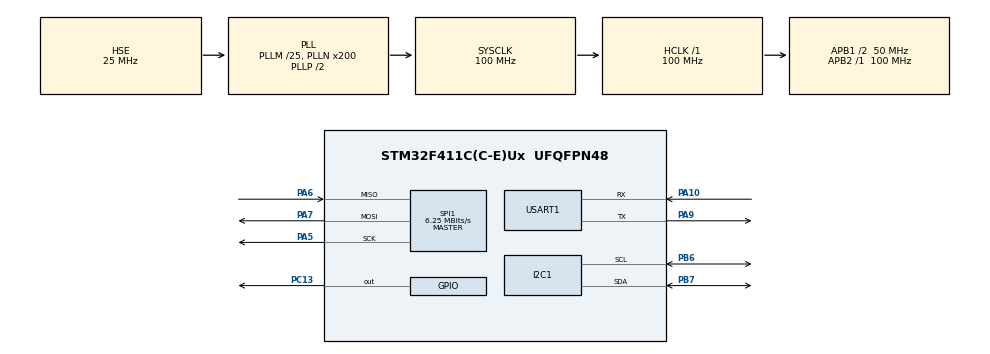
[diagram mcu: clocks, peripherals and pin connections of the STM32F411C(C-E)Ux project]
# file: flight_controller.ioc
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Mcu.Family=STM32F4
Mcu.Name=STM32F411C(C-E)Ux
Mcu.Package=UFQFPN48
NVIC.PriorityGroup=NVIC_PRIORITYGROUP_4
PA10.Mode=Asynchronous
PA10.Signal=USART1_RX
PA5.Mode=Full_Duplex_Master
PA5.Signal=SPI1_SCK
PA6.Mode=Full_Duplex_Master
PA6.Signal=SPI1_MISO
PA7.Mode=Full_Duplex_Master
PA7.Signal=SPI1_MOSI
PA9.Mode=Asynchronous
PA9.Signal=USART1_TX
PB6.Mode=I2C
PB6.Signal=I2C1_SCL
PB7.Mode=I2C
PB7.Signal=I2C1_SDA
PC13-ANTI_TAMP.Signal=GPIO_Output
PH0\ -\ OSC_IN.Mode=HSE-External-Oscillator
PH0\ -\ OSC_IN.Signal=RCC_OSC_IN
PH1\ -\ OSC_OUT.Mode=HSE-External-Oscillator
PH1\ -\ OSC_OUT.Signal=RCC_OSC_OUT
ProjectManager.HeapSize=0x200
ProjectManager.StackSize=0x400
ProjectManager.TargetToolchain=CMake
RCC.48MHZClocksFreq_Value=50000000
RCC.AHBFreq_Value=100000000
RCC.APB1CLKDivider=RCC_HCLK_DIV2
RCC.APB1Freq_Value=50000000
RCC.APB1TimFreq_Value=100000000
RCC.APB2Freq_Value=100000000
RCC.APB2TimFreq_Value=100000000
RCC.CortexFreq_Value=100000000
RCC.EnbaleCSS=true
RCC.HCLKFreq_Value=100000000
RCC.HSE_VALUE=25000000
RCC.HSI_VALUE=16000000
RCC.LSE_VALUE=32768
RCC.PLLM=25
RCC.PLLN=200
RCC.PLLSourceVirtual=RCC_PLLSOURCE_HSE
RCC.SYSCLKFreq_VALUE=100000000
RCC.SYSCLKSource=RCC_SYSCLKSOURCE_PLLCLK
RCC.VCOOutputFreq_Value=200000000
SPI1.BaudRatePrescaler=SPI_BAUDRATEPRESCALER_16
SPI1.CalculateBaudRate=6.25 MBits/s
SPI1.Direction=SPI_DIRECTION_2LINES
SPI1.Mode=SPI_MODE_MASTER
SPI1.VirtualType=VM_MASTER
USART1.VirtualMode=VM_ASYNC
board=custom

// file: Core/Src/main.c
/* USER CODE BEGIN Header */
/**
 ******************************************************************************
 * @file    main.c
 * @brief   nRF24L01 RC Receiver - STM32F411 Black Pill
 *          Fixes applied:
 *          1. SPI prescaler: /2 (50MHz) -> /16 (6.25MHz), nRF24 max = 10MHz
 *          2. Removed manual EXTI0_IRQHandler() call; use NRF24_HandleRX()
 *          3. Removed dead I2C init code
 ******************************************************************************
 */
/* USER CODE END Header */
#include "main.h"

/* USER CODE BEGIN Includes */
#include "nrf24l01.h"
#include "stm32f4xx_hal.h"
/* USER CODE END Includes */

I2C_HandleTypeDef hi2c1;

SPI_HandleTypeDef hspi1;

UART_HandleTypeDef huart1;

void SystemClock_Config(void);
static void MX_GPIO_Init(void);
static void MX_I2C1_Init(void);
static void MX_SPI1_Init(void);
static void MX_USART1_UART_Init(void);

int main(void) {

    /* MCU Configuration--------------------------------------------------------*/

    /* Reset of all peripherals, Initializes the Flash interface and the Systick. */
    HAL_Init();

    /* Configure the system clock */
    SystemClock_Config();

    /* Initialize all configured peripherals */
    MX_GPIO_Init();
    MX_I2C1_Init();
    MX_SPI1_Init();
    MX_USART1_UART_Init();
    /* USER CODE BEGIN 2 */

    /* Radio Power-Up nRF24 needs 100ms from VCC stable to begin SPI comms */
    HAL_Delay(100);

    NRF24_EXTI_Setup();
    NRF24_Init_Reciever();

    uint8_t config_verify = NRF24_ReadReg(NRF_REG_CONFIG);
    if (config_verify == 0x0F) {
        uint8_t ok_msg[] = ">>> NRF24 SUCCESS: Radio configured. CONFIG=0x0F\r\n";
        HAL_UART_Transmit(&huart1, ok_msg, sizeof(ok_msg) - 1, 100);
    } else {
        while (NRF24_ReadReg(NRF_REG_CONFIG) != 0x0F) {
            uint8_t err_msg[] = "!!! NRF24 ERROR: SPI failed. Check wiring & prescaler.\r";
            HAL_UART_Transmit(&huart1, err_msg, sizeof(err_msg) - 1, 100);
        }
    }

    uint32_t last_display_time = 0;
    uint32_t last_heartbeat = 0;
    current_ack_payload.battery = 100;
    uint8_t nrf_stopped[] = "NRF Module Not Responding \r";
    /* USER CODE END 2 */

    /* Infinite loop */
    while (1) {

        /* USER CODE BEGIN 3 */
        /* C. TIMED TELEMETRY */
        if (NRF24_IsHardwareAlive()) {
            Debug_Print_RC();
        } else {
            HAL_UART_Transmit(&huart1, nrf_stopped, sizeof(nrf_stopped) - 1, 100);
        }
        HAL_Delay(100);
    }
    /* USER CODE END 3 */
}

void SystemClock_Config(void) {
    RCC_OscInitTypeDef RCC_OscInitStruct = {0};
    RCC_ClkInitTypeDef RCC_ClkInitStruct = {0};

    /** Configure the main internal regulator output voltage
     */
    __HAL_RCC_PWR_CLK_ENABLE();
    __HAL_PWR_VOLTAGESCALING_CONFIG(PWR_REGULATOR_VOLTAGE_SCALE1);

    /** Initializes the RCC Oscillators according to the specified parameters
     * in the RCC_OscInitTypeDef structure.
     */
    RCC_OscInitStruct.OscillatorType = RCC_OSCILLATORTYPE_HSE;
    RCC_OscInitStruct.HSEState = RCC_HSE_ON;
    RCC_OscInitStruct.PLL.PLLState = RCC_PLL_ON;
    RCC_OscInitStruct.PLL.PLLSource = RCC_PLLSOURCE_HSE;
    RCC_OscInitStruct.PLL.PLLM = 25;
    RCC_OscInitStruct.PLL.PLLN = 200;
    RCC_OscInitStruct.PLL.PLLP = RCC_PLLP_DIV2;
    RCC_OscInitStruct.PLL.PLLQ = 4;
    if (HAL_RCC_OscConfig(&RCC_OscInitStruct) != HAL_OK) {
        Error_Handler();
    }

    /** Initializes the CPU, AHB and APB buses clocks
     */
    RCC_ClkInitStruct.ClockType = RCC_CLOCKTYPE_HCLK | RCC_CLOCKTYPE_SYSCLK | RCC_CLOCKTYPE_PCLK1 | RCC_CLOCKTYPE_PCLK2;
    RCC_ClkInitStruct.SYSCLKSource = RCC_SYSCLKSOURCE_PLLCLK;
    RCC_ClkInitStruct.AHBCLKDivider = RCC_SYSCLK_DIV1;
    RCC_ClkInitStruct.APB1CLKDivider = RCC_HCLK_DIV2;
    RCC_ClkInitStruct.APB2CLKDivider = RCC_HCLK_DIV1;

    if (HAL_RCC_ClockConfig(&RCC_ClkInitStruct, FLASH_LATENCY_3) != HAL_OK) {
        Error_Handler();
    }

    /** Enables the Clock Security System
     */
    HAL_RCC_EnableCSS();
}

static void MX_I2C1_Init(void) {

    hi2c1.Instance = I2C1;
    hi2c1.Init.ClockSpeed = 100000;
    hi2c1.Init.DutyCycle = I2C_DUTYCYCLE_2;
    hi2c1.Init.OwnAddress1 = 0;
    hi2c1.Init.AddressingMode = I2C_ADDRESSINGMODE_7BIT;
    hi2c1.Init.DualAddressMode = I2C_DUALADDRESS_DISABLE;
    hi2c1.Init.OwnAddress2 = 0;
    hi2c1.Init.GeneralCallMode = I2C_GENERALCALL_DISABLE;
    hi2c1.Init.NoStretchMode = I2C_NOSTRETCH_DISABLE;
    if (HAL_I2C_Init(&hi2c1) != HAL_OK) {
        Error_Handler();
    }
}

static void MX_SPI1_Init(void) {

    /* SPI1 parameter configuration*/
    hspi1.Instance = SPI1;
    hspi1.Init.Mode = SPI_MODE_MASTER;
    hspi1.Init.Direction = SPI_DIRECTION_2LINES;
    hspi1.Init.DataSize = SPI_DATASIZE_8BIT;
    hspi1.Init.CLKPolarity = SPI_POLARITY_LOW;
    hspi1.Init.CLKPhase = SPI_PHASE_1EDGE;
    hspi1.Init.NSS = SPI_NSS_SOFT;
    hspi1.Init.BaudRatePrescaler = SPI_BAUDRATEPRESCALER_16;
    hspi1.Init.FirstBit = SPI_FIRSTBIT_MSB;
    hspi1.Init.TIMode = SPI_TIMODE_DISABLE;
    hspi1.Init.CRCCalculation = SPI_CRCCALCULATION_DISABLE;
    hspi1.Init.CRCPolynomial = 10;
    if (HAL_SPI_Init(&hspi1) != HAL_OK) {
        Error_Handler();
    }
}

static void MX_USART1_UART_Init(void) {

    huart1.Instance = USART1;
    huart1.Init.BaudRate = 115200;
    huart1.Init.WordLength = UART_WORDLENGTH_8B;
    huart1.Init.StopBits = UART_STOPBITS_1;
    huart1.Init.Parity = UART_PARITY_NONE;
    huart1.Init.Mode = UART_MODE_TX_RX;
    huart1.Init.HwFlowCtl = UART_HWCONTROL_NONE;
    huart1.Init.OverSampling = UART_OVERSAMPLING_16;
    if (HAL_UART_Init(&huart1) != HAL_OK) {
        Error_Handler();
    }
}

static void MX_GPIO_Init(void) {
    GPIO_InitTypeDef GPIO_InitStruct = {0};

    /* GPIO Ports Clock Enable */
    __HAL_RCC_GPIOC_CLK_ENABLE();
    __HAL_RCC_GPIOH_CLK_ENABLE();
    __HAL_RCC_GPIOA_CLK_ENABLE();
    __HAL_RCC_GPIOB_CLK_ENABLE();

    /*Configure GPIO pin Output Level */
    HAL_GPIO_WritePin(GPIOC, GPIO_PIN_13, GPIO_PIN_RESET);

    /*Configure GPIO pin : PC13 */
    GPIO_InitStruct.Pin = GPIO_PIN_13;
    GPIO_InitStruct.Mode = GPIO_MODE_OUTPUT_PP;
    GPIO_InitStruct.Pull = GPIO_NOPULL;
    GPIO_InitStruct.Speed = GPIO_SPEED_FREQ_LOW;
    HAL_GPIO_Init(GPIOC, &GPIO_InitStruct);

    /* USER CODE BEGIN MX_GPIO_Init_2 */

    /* Enable GPIO clocks */
    /* Set CE and CSN high (inactive) before configuring as outputs */
    HAL_GPIO_WritePin(GPIOB, GPIO_PIN_1 | GPIO_PIN_2, GPIO_PIN_SET);

    /* PB1 (CE), PB2 (CSN) as push-pull outputs */
    GPIO_InitStruct.Pin = GPIO_PIN_1 | GPIO_PIN_2;
    GPIO_InitStruct.Mode = GPIO_MODE_OUTPUT_PP;
    GPIO_InitStruct.Pull = GPIO_NOPULL;
    GPIO_InitStruct.Speed = GPIO_SPEED_FREQ_LOW;
    HAL_GPIO_Init(GPIOB, &GPIO_InitStruct);

    /* PC13 as output for heartbeat LED
     * Black Pill LED is active-low (LED on when PC13 = 0) */
    HAL_GPIO_WritePin(GPIOC, GPIO_PIN_13, GPIO_PIN_SET); /* Start with LED off */
    GPIO_InitStruct.Pin = GPIO_PIN_13;
    GPIO_InitStruct.Mode = GPIO_MODE_OUTPUT_PP;
    GPIO_InitStruct.Pull = GPIO_NOPULL;
    GPIO_InitStruct.Speed = GPIO_SPEED_FREQ_LOW;
    HAL_GPIO_Init(GPIOC, &GPIO_InitStruct);

    /* USER CODE END MX_GPIO_Init_2 */
}

void Error_Handler(void) {
    __disable_irq();
    while (1) {
    }
}
